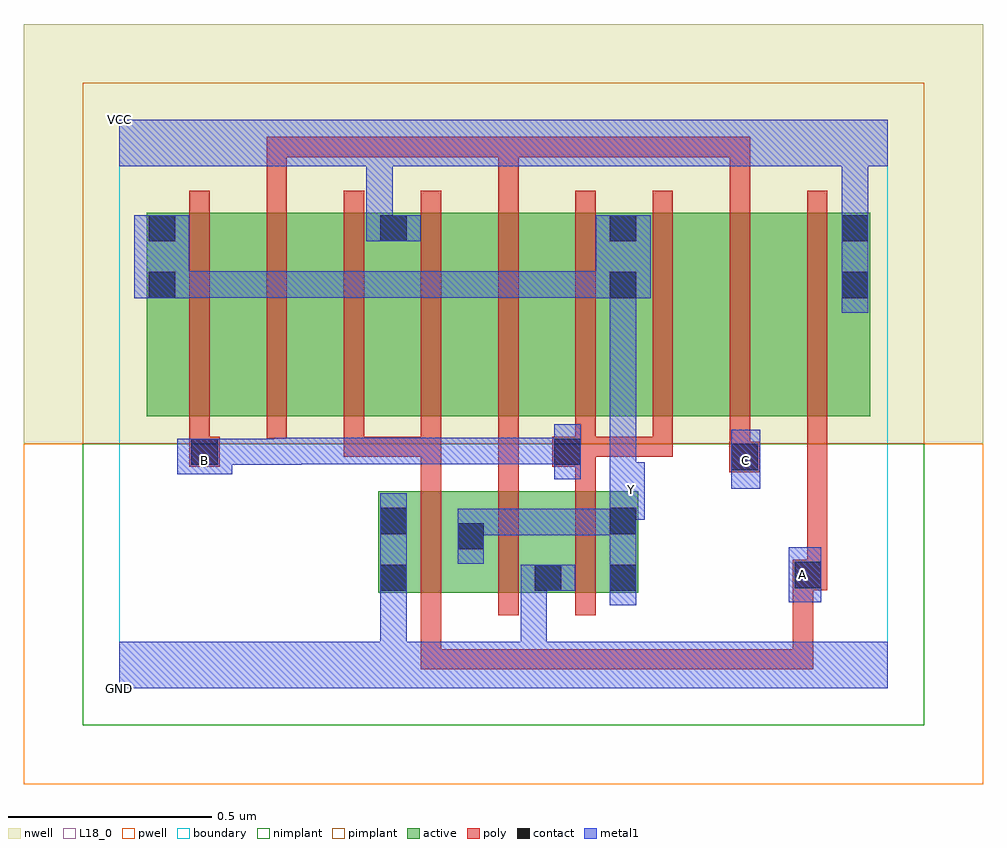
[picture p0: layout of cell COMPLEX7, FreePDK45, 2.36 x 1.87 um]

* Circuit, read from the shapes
.subckt COMPLEX7 A B C GND VCC Y
M1 Y A GND VSUBS nfet w=0.25u l=0.05u
M2 GND C Y VSUBS nfet w=0.25u l=0.05u
M3 Y B GND VSUBS nfet w=0.25u l=0.05u
M4 n1 B Y n2 pfet w=0.5u l=0.05u
M5 n3 C n1 n2 pfet w=0.5u l=0.05u
M6 VCC A n3 n2 pfet w=0.5u l=0.05u
M7 n4 A VCC n2 pfet w=0.5u l=0.05u
M8 n5 C n4 n2 pfet w=0.5u l=0.05u
M9 Y B n5 n2 pfet w=0.5u l=0.05u
M10 n6 B Y n2 pfet w=0.5u l=0.05u
M11 n7 C n6 n2 pfet w=0.5u l=0.05u
M12 VCC A n7 n2 pfet w=0.5u l=0.05u
.ends

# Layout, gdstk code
import gdstk
lib = gdstk.Library(unit=1e-6, precision=1e-09)
def R(c, l, rs):  # rectangles x0, y0, x1, y1
    for r in rs: c.add(gdstk.rectangle(r[:2], r[2:], *l))
def A(c, l, x, y, w, h, nx, ny, dx, dy):  # array of equal rectangles
    R(c, l, [(x+i*dx, y+j*dy, x+i*dx+w, y+j*dy+h) for i in range(nx) for j in range(ny)])
active = (1, 0)
pwell = (2, 0)
nwell = (3, 0)
nimplant = (4, 0)
pimplant = (5, 0)
poly = (9, 0)
contact = (10, 0)
metal1 = (11, 0)
L18_0 = (18, 0)
boundary = (235, 0)

complex7 = lib.new_cell('COMPLEX7')
A(complex7, active, 0.292, 0.67, 0.19, 0.5, 3, 1, 0.57, 0)
R(complex7, active, [(0.637,0.235,0.712,0.485), (0.637,0.235,0.902,0.485), (0.827,0.235,1.092,0.485), (0.827,0.235,0.902,0.412), (1.017,0.235,1.277,0.485), (1.017,0.235,1.092,0.467), (1.202,0.235,1.277,0.485), (0.067,0.67,0.142,1.17), (0.067,0.67,0.292,1.17), (0.482,0.67,0.712,1.17), (0.637,0.67,0.862,1.17), (1.052,0.67,1.277,1.17), (1.202,0.67,1.432,1.17), (1.622,0.67,1.847,1.17), (1.772,0.67,1.847,1.17), (0.637,0.682,0.712,1.17), (1.202,0.682,1.277,1.17)])
R(complex7, pwell, [(-0.235,-0.235,2.125,0.602)])
R(complex7, nwell, [(-0.235,0.602,2.125,1.635)])
R(complex7, nimplant, [(-0.09,-0.09,1.98,0.602)])
R(complex7, pimplant, [(-0.09,0.602,1.98,1.49)])
A(complex7, poly, 0.742, 0.18, 0.05, 0.36, 3, 1, 0.19, 0)
A(complex7, poly, 0.552, 0.57, 0.05, 0.05, 4, 1, 0.19, 0)
A(complex7, poly, 0.552, 0.57, 0.05, 0.095, 5, 1, 0.19, 0)
A(complex7, poly, 0.172, 0.615, 0.05, 0.61, 9, 1, 0.19, 0)
A(complex7, poly, 0.362, 1.175, 0.05, 0.182, 3, 1, 0.57, 0)
R(complex7, poly, [(0.742,0.047,0.792,0.097), (0.742,0.047,0.792,0.097), (0.742,0.047,0.792,0.097), (0.742,0.047,0.982,0.097), (0.742,0.047,0.792,0.23), (0.932,0.047,0.982,0.097), (0.932,0.047,0.982,0.097), (0.932,0.047,0.982,0.097), (0.932,0.047,1.23,0.097), (1.18,0.047,1.23,0.097), (1.18,0.047,1.23,0.097), (1.18,0.047,1.23,0.097), (1.18,0.047,1.377,0.097), (1.327,0.047,1.377,0.097), (1.327,0.047,1.51,0.097), (1.46,0.047,1.51,0.097), (1.46,0.047,1.51,0.097), (1.46,0.047,1.51,0.097), (1.46,0.047,1.707,0.097), (1.657,0.047,1.707,0.097), (1.657,0.047,1.707,0.097), (1.657,0.047,1.707,0.097), (1.657,0.047,1.707,0.292), (1.657,0.242,1.707,0.292), (1.657,0.242,1.707,0.292), (1.657,0.242,1.707,0.292), (1.657,0.242,1.707,0.292), (1.657,0.242,1.742,0.317), (1.692,0.267,1.742,0.665), (0.742,0.49,0.792,0.62), (0.932,0.49,0.982,0.62), (1.122,0.49,1.172,0.595), (1.5,0.532,1.575,0.607), (0.172,0.545,0.247,0.62), (1.065,0.545,1.172,0.62), (1.502,0.557,1.552,0.665), (0.172,0.57,0.222,0.665), (0.552,0.57,0.602,0.62), (0.552,0.57,0.602,0.62), (0.552,0.57,0.792,0.62), (1.122,0.57,1.172,0.62), (1.122,0.57,1.362,0.62), (1.312,0.57,1.362,0.62), (0.362,1.307,0.412,1.357), (0.362,1.307,0.412,1.357), (0.362,1.307,0.412,1.357), (0.362,1.307,0.582,1.357), (0.532,1.307,0.582,1.357), (0.532,1.307,0.582,1.357), (0.532,1.307,0.582,1.357), (0.532,1.307,0.85,1.357), (0.8,1.307,0.85,1.357), (0.8,1.307,0.85,1.357), (0.8,1.307,0.85,1.357), (0.8,1.307,0.982,1.357), (0.932,1.307,0.982,1.357), (0.932,1.307,0.982,1.357), (0.932,1.307,0.982,1.357), (0.932,1.307,1.23,1.357), (1.18,1.307,1.23,1.357), (1.18,1.307,1.23,1.357), (1.18,1.307,1.23,1.357), (1.18,1.307,1.377,1.357), (1.327,1.307,1.377,1.357), (1.327,1.307,1.377,1.357), (1.327,1.307,1.377,1.357), (1.327,1.307,1.552,1.357), (1.502,1.307,1.552,1.357)])
R(complex7, contact, [(0.642,0.24,0.707,0.305), (1.022,0.24,1.087,0.305), (1.207,0.24,1.272,0.305), (1.662,0.247,1.727,0.312), (0.832,0.342,0.897,0.407), (0.642,0.38,0.707,0.445), (1.207,0.38,1.272,0.445), (1.505,0.537,1.57,0.602), (0.177,0.55,0.242,0.615), (1.07,0.55,1.135,0.615), (0.072,0.96,0.137,1.025), (1.207,0.96,1.272,1.025), (1.777,0.96,1.842,1.025), (0.072,1.1,0.137,1.165), (0.642,1.1,0.707,1.165), (1.207,1.1,1.272,1.165), (1.777,1.1,1.842,1.165)])
R(complex7, metal1, [(0,0,1.89,0.115), (0.642,0.05,0.707,0.27), (0.987,0.05,1.052,0.115), (0.987,0.05,1.052,0.115), (0.987,0.05,1.052,0.115), (0.987,0.05,1.052,0.115), (0.987,0.05,1.052,0.305), (0.642,0.205,0.707,0.27), (0.642,0.205,0.707,0.27), (0.642,0.205,0.707,0.27), (0.642,0.205,0.707,0.27), (0.642,0.205,0.707,0.48), (1.207,0.205,1.272,0.48), (1.647,0.212,1.727,0.347), (0.987,0.24,1.122,0.305), (0.832,0.307,0.897,0.442), (0.832,0.377,0.897,0.442), (0.832,0.377,0.897,0.442), (0.832,0.377,1.1,0.442), (1.035,0.377,1.1,0.442), (1.035,0.377,1.1,0.442), (1.035,0.377,1.1,0.442), (1.035,0.377,1.272,0.442), (1.207,0.415,1.272,0.48), (1.207,0.415,1.292,0.557), (1.207,0.492,1.272,1.025), (1.505,0.492,1.577,0.637), (1.07,0.515,1.135,0.65), (0.142,0.527,0.277,0.615), (0.212,0.55,0.31,0.615), (0.245,0.55,0.31,0.615), (0.245,0.55,0.447,0.615), (0.382,0.55,0.447,0.615), (0.382,0.55,0.447,0.615), (0.382,0.55,0.447,0.617), (0.382,0.552,0.585,0.617), (0.52,0.552,0.585,0.617), (0.52,0.552,0.722,0.617), (0.657,0.552,0.722,0.617), (0.657,0.552,0.722,0.617), (0.657,0.552,0.722,0.617), (0.657,0.552,0.915,0.617), (0.85,0.552,0.915,0.617), (0.85,0.552,0.915,0.617), (0.85,0.552,0.915,0.617), (0.85,0.552,1.052,0.617), (0.987,0.552,1.052,0.617), (0.987,0.552,1.135,0.617), (1.777,0.925,1.842,1.2), (0.037,0.96,0.172,1.165), (1.172,0.96,1.307,1.165), (0.107,0.962,0.172,1.027), (0.107,0.962,0.172,1.027), (0.107,0.962,0.31,1.027), (0.245,0.962,0.31,1.027), (0.245,0.962,0.447,1.027), (0.382,0.962,0.447,1.027), (0.382,0.962,0.447,1.027), (0.382,0.962,0.447,1.027), (0.382,0.962,0.585,1.027), (0.52,0.962,0.585,1.027), (0.52,0.962,0.722,1.027), (0.657,0.962,0.722,1.027), (0.657,0.962,0.722,1.027), (0.657,0.962,0.722,1.027), (0.657,0.962,0.915,1.027), (0.85,0.962,0.915,1.027), (0.85,0.962,0.915,1.027), (0.85,0.962,0.915,1.027), (0.85,0.962,1.1,1.027), (1.035,0.962,1.1,1.027), (1.035,0.962,1.237,1.027), (1.172,0.962,1.237,1.027), (1.172,0.962,1.237,1.027), (0.607,1.1,0.742,1.165), (0.607,1.1,0.672,1.35), (1.777,1.135,1.842,1.35), (0,1.285,1.89,1.4), (0.607,1.285,0.672,1.35), (0.607,1.285,0.672,1.35), (1.777,1.285,1.842,1.35), (1.777,1.285,1.842,1.35)])
R(complex7, L18_0, [(0,0,1.89,0.115), (0.642,0.05,0.707,0.27), (0.987,0.05,1.052,0.115), (0.987,0.05,1.052,0.115), (0.987,0.05,1.052,0.115), (0.987,0.05,1.052,0.115), (0.987,0.05,1.052,0.305), (0.642,0.205,0.707,0.27), (0.642,0.205,0.707,0.27), (0.642,0.205,0.707,0.27), (0.642,0.205,0.707,0.27), (0.642,0.205,0.707,0.48), (1.207,0.205,1.272,0.48), (1.647,0.212,1.727,0.347), (0.987,0.24,1.122,0.305), (1.647,0.247,1.712,0.312), (0.832,0.307,0.897,0.442), (0.832,0.377,0.897,0.442), (0.832,0.377,0.897,0.442), (0.832,0.377,1.1,0.442), (1.035,0.377,1.1,0.442), (1.035,0.377,1.1,0.442), (1.035,0.377,1.1,0.442), (1.035,0.377,1.272,0.442), (1.207,0.415,1.272,0.48), (1.207,0.415,1.292,0.557), (1.227,0.457,1.292,0.522), (1.207,0.492,1.272,1.025), (1.505,0.492,1.577,0.637), (1.07,0.515,1.135,0.65), (0.142,0.527,0.277,0.615), (0.177,0.527,0.242,0.592), (1.507,0.527,1.572,0.592), (0.212,0.55,0.31,0.615), (0.245,0.55,0.31,0.615), (0.245,0.55,0.447,0.615), (0.382,0.55,0.447,0.615), (0.382,0.55,0.447,0.615), (0.382,0.55,0.447,0.617), (0.382,0.552,0.585,0.617), (0.52,0.552,0.585,0.617), (0.52,0.552,0.722,0.617), (0.657,0.552,0.722,0.617), (0.657,0.552,0.722,0.617), (0.657,0.552,0.722,0.617), (0.657,0.552,0.915,0.617), (0.85,0.552,0.915,0.617), (0.85,0.552,0.915,0.617), (0.85,0.552,0.915,0.617), (0.85,0.552,1.052,0.617), (0.987,0.552,1.052,0.617), (0.987,0.552,1.135,0.617), (1.777,0.925,1.842,1.2), (0.037,0.96,0.172,1.165), (1.172,0.96,1.307,1.165), (0.107,0.962,0.172,1.027), (0.107,0.962,0.172,1.027), (0.107,0.962,0.31,1.027), (0.245,0.962,0.31,1.027), (0.245,0.962,0.447,1.027), (0.382,0.962,0.447,1.027), (0.382,0.962,0.447,1.027), (0.382,0.962,0.447,1.027), (0.382,0.962,0.585,1.027), (0.52,0.962,0.585,1.027), (0.52,0.962,0.722,1.027), (0.657,0.962,0.722,1.027), (0.657,0.962,0.722,1.027), (0.657,0.962,0.722,1.027), (0.657,0.962,0.915,1.027), (0.85,0.962,0.915,1.027), (0.85,0.962,0.915,1.027), (0.85,0.962,0.915,1.027), (0.85,0.962,1.1,1.027), (1.035,0.962,1.1,1.027), (1.035,0.962,1.237,1.027), (1.172,0.962,1.237,1.027), (1.172,0.962,1.237,1.027), (0.607,1.1,0.742,1.165), (0.607,1.1,0.672,1.35), (1.777,1.135,1.842,1.35), (0,1.285,1.89,1.4), (0.607,1.285,0.672,1.35), (0.607,1.285,0.672,1.35), (1.777,1.285,1.842,1.35), (1.777,1.285,1.842,1.35)])
R(complex7, boundary, [(0,0,1.89,1.4)])
complex7.add(gdstk.Label('A', (1.68,0.28), layer=11, texttype=0))
complex7.add(gdstk.Label('B', (0.21,0.56), layer=11, texttype=0))
complex7.add(gdstk.Label('C', (1.54,0.56), layer=11, texttype=0))
complex7.add(gdstk.Label('Y', (1.26,0.49), layer=11, texttype=0))
complex7.add(gdstk.Label('VCC', (0,1.4), layer=11, texttype=0))
complex7.add(gdstk.Label('GND', (0,0), layer=11, texttype=0))

lib.write_gds('COMPLEX7.gds')
